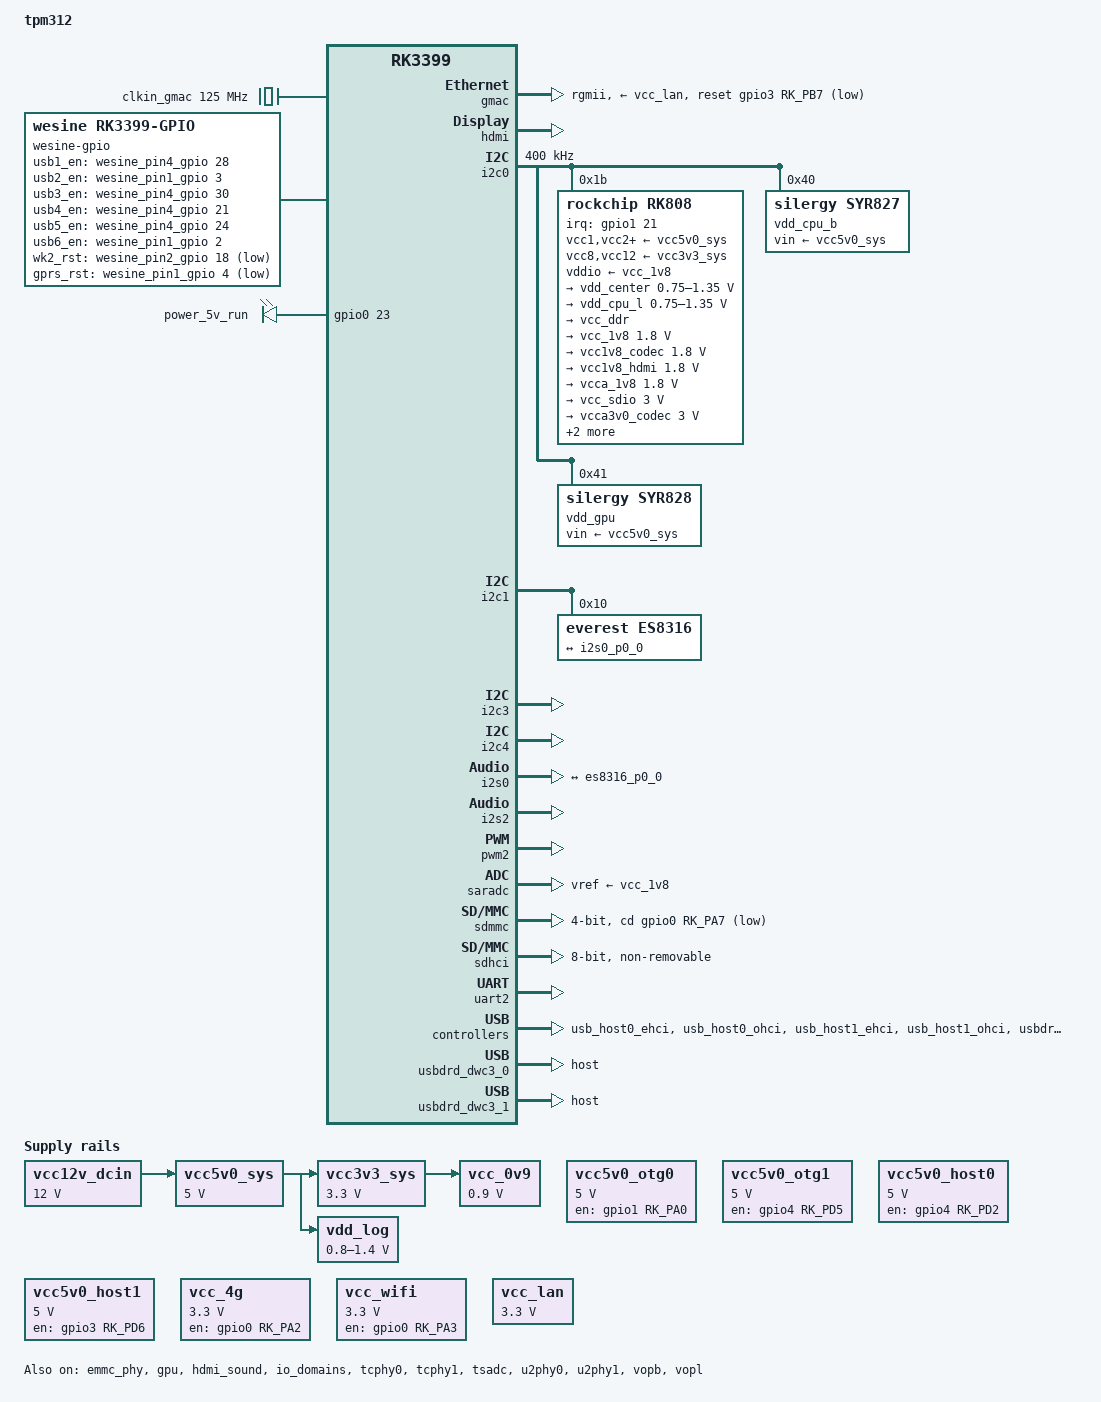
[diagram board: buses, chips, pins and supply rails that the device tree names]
// SPDX-License-Identifier: (GPL-2.0+ OR MIT)
/*
 * Copyright (c) 2023 chainsx <chainsx@outlook.com>
 */

/dts-v1/;
#include <dt-bindings/input/linux-event-codes.h>
#include <dt-bindings/pwm/pwm.h>
#include "rk3399.dtsi"
#include "rk3399-opp.dtsi"

/ {
	model = "tpm312";
	compatible = "rockchip,tpm312", "rockchip,rk3399";

	aliases {
		mmc0 = &sdmmc;
		mmc1 = &sdhci;
	};

	chosen {
		stdout-path = "serial2:1500000n8";
	};

	clkin_gmac: external-gmac-clock {
		compatible = "fixed-clock";
		clock-frequency = <125000000>;
		clock-output-names = "clkin_gmac";
		#clock-cells = <0>;
	};

	sound {
		compatible = "audio-graph-card";
		label = "Analog";
		dais = <&i2s0_p0>;
	};

	vcc12v_dcin: dc-12v {
		compatible = "regulator-fixed";
		regulator-name = "vcc12v_dcin";
		regulator-always-on;
		regulator-boot-on;
		regulator-min-microvolt = <12000000>;
		regulator-max-microvolt = <12000000>;
	};

	vcc5v0_sys: vcc-sys {
		compatible = "regulator-fixed";
		regulator-name = "vcc5v0_sys";
		regulator-always-on;
		regulator-boot-on;
		regulator-min-microvolt = <5000000>;
		regulator-max-microvolt = <5000000>;
		vin-supply = <&vcc12v_dcin>;
	};

	vcc_0v9: vcc-0v9 {
		compatible = "regulator-fixed";
		regulator-name = "vcc_0v9";
		regulator-always-on;
		regulator-boot-on;
		regulator-min-microvolt = <900000>;
		regulator-max-microvolt = <900000>;
		vin-supply = <&vcc3v3_sys>;
	};

	vcc3v3_sys: vcc3v3-sys {
		compatible = "regulator-fixed";
		regulator-name = "vcc3v3_sys";
		regulator-always-on;
		regulator-boot-on;
		regulator-min-microvolt = <3300000>;
		regulator-max-microvolt = <3300000>;
		vin-supply = <&vcc5v0_sys>;
	};

	vcc5v0_otg0: vcc5v0-otg0-regulator {
		compatible = "regulator-fixed";
		enable-active-high;
		gpio = <&gpio1 RK_PA0 GPIO_ACTIVE_HIGH>;
		pinctrl-names = "default";
		pinctrl-0 = <&otg0_vbus_drv>;
		regulator-name = "vcc5v0_otg0";
		regulator-always-on;
		regulator-min-microvolt = <5000000>;
		regulator-max-microvolt = <5000000>;
	};

	vcc5v0_otg1: vcc5v0-otg1-regulator {
		compatible = "regulator-fixed";
		enable-active-high;
		gpio = <&gpio4 RK_PD5 GPIO_ACTIVE_HIGH>;
		pinctrl-names = "default";
		pinctrl-0 = <&otg1_vbus_drv>;
		regulator-name = "vcc5v0_otg1";
		regulator-always-on;
		regulator-min-microvolt = <5000000>;
		regulator-max-microvolt = <5000000>;
	};

	vcc5v0_host0: vcc5v0-host0-regulator {
		compatible = "regulator-fixed";
		enable-active-high;
		gpio = <&gpio4 RK_PD2 GPIO_ACTIVE_HIGH>;
		pinctrl-names = "default";
		pinctrl-0 = <&host0_vbus_drv>;
		regulator-name = "vcc5v0_host0";
		regulator-always-on;
		regulator-min-microvolt = <5000000>;
		regulator-max-microvolt = <5000000>;
	};

	vcc5v0_host1: vcc5v0-host1-regulator {
		compatible = "regulator-fixed";
		enable-active-high;
		gpio = <&gpio3 RK_PD6 GPIO_ACTIVE_HIGH>;
		pinctrl-names = "default";
		pinctrl-0 = <&host1_vbus_drv>;
		regulator-name = "vcc5v0_host1";
		regulator-always-on;
		regulator-min-microvolt = <5000000>;
		regulator-max-microvolt = <5000000>;
	};

	vcc_4g: vcc-4g {
		compatible = "regulator-fixed";
		enable-active-high;
		gpio = <&gpio0 RK_PA2 GPIO_ACTIVE_HIGH>;
		pinctrl-names = "default";
		pinctrl-0 = <&vcc_4g_gpio>;
		regulator-name = "vcc_4g";
		regulator-always-on;
		regulator-boot-on;
		regulator-min-microvolt = <3300000>;
		regulator-max-microvolt = <3300000>;
	};

	vcc_wifi: vcc-wifi {
		compatible = "regulator-fixed";
		enable-active-high;
		gpio = <&gpio0 RK_PA3 GPIO_ACTIVE_HIGH>;
		pinctrl-names = "default";
		pinctrl-0 = <&wifi_pwr_gpio>;
		regulator-name = "vcc_wifi";
		regulator-always-on;
		regulator-min-microvolt = <3300000>;
		regulator-max-microvolt = <3300000>;
	};

	vcc_lan: vcc3v3-phy-regulator {
		compatible = "regulator-fixed";
		regulator-name = "vcc_lan";
		regulator-always-on;
		regulator-boot-on;
		regulator-min-microvolt = <3300000>;
		regulator-max-microvolt = <3300000>;
	};

	vdd_log: vdd-log {
		compatible = "pwm-regulator";
		pwms = <&pwm2 0 25000 1>;
		regulator-name = "vdd_log";
		regulator-always-on;
		regulator-boot-on;
		regulator-min-microvolt = <800000>;
		regulator-max-microvolt = <1400000>;
		vin-supply = <&vcc5v0_sys>;
	};

	wesine-gpio {
		compatible = "wesine,rk3399-gpio";
		pinctrl-names = "default";
		pinctrl-0 = <&wesine_pin1_gpio &wesine_pin2_gpio &wesine_pin4_gpio>;
		usb1_en = <&wesine_pin4_gpio 28 GPIO_ACTIVE_HIGH>;
		usb2_en = <&wesine_pin1_gpio 3 GPIO_ACTIVE_HIGH>;
		usb3_en = <&wesine_pin4_gpio 30 GPIO_ACTIVE_HIGH>;
		usb4_en = <&wesine_pin4_gpio 21 GPIO_ACTIVE_HIGH>;
		usb5_en = <&wesine_pin4_gpio 24 GPIO_ACTIVE_HIGH>;
		usb6_en = <&wesine_pin1_gpio 2 GPIO_ACTIVE_HIGH>;
		wk2_rst = <&wesine_pin2_gpio 18 GPIO_ACTIVE_LOW>;
		gprs_rst = <&wesine_pin1_gpio 4 GPIO_ACTIVE_LOW>;
		status = "okay";
	};

	leds {
		compatible = "gpio-leds";
		power5v-led {
			gpios = <&gpio0 23 GPIO_ACTIVE_HIGH>;
			default-state = "on";
			label = "power_5v_run";
		};
	};
};

&cpu_l0 {
	cpu-supply = <&vdd_cpu_l>;
};

&cpu_l1 {
	cpu-supply = <&vdd_cpu_l>;
};

&cpu_l2 {
	cpu-supply = <&vdd_cpu_l>;
};

&cpu_l3 {
	cpu-supply = <&vdd_cpu_l>;
};

&cpu_b0 {
	cpu-supply = <&vdd_cpu_b>;
};

&cpu_b1 {
	cpu-supply = <&vdd_cpu_b>;
};

&emmc_phy {
	status = "okay";
};

&gmac {
	assigned-clocks = <&cru SCLK_RMII_SRC>;
	assigned-clock-parents = <&clkin_gmac>;
	clock_in_out = "input";
	phy-supply = <&vcc_lan>;
	phy-mode = "rgmii";
	pinctrl-names = "default";
	pinctrl-0 = <&rgmii_pins>;
	snps,reset-gpio = <&gpio3 RK_PB7 GPIO_ACTIVE_LOW>;
	snps,reset-active-low;
	snps,reset-delays-us = <0 10000 50000>;
	tx_delay = <0x28>;
	rx_delay = <0x11>;
	status = "okay";
};

&gpu {
	mali-supply = <&vdd_gpu>;
	status = "okay";
};

&hdmi {
	ddc-i2c-bus = <&i2c3>;
	pinctrl-names = "default";
	pinctrl-0 = <&hdmi_cec>;
	status = "okay";
};

&hdmi_sound {
	status = "okay";
};

&i2c0 {
	clock-frequency = <400000>;
	i2c-scl-rising-time-ns = <168>;
	i2c-scl-falling-time-ns = <4>;
	status = "okay";

	rk808: pmic@1b {
		compatible = "rockchip,rk808";
		reg = <0x1b>;
		interrupt-parent = <&gpio1>;
		interrupts = <21 IRQ_TYPE_LEVEL_LOW>;
		#clock-cells = <1>;
		clock-output-names = "xin32k", "rk808-clkout2";
		pinctrl-names = "default";
		pinctrl-0 = <&pmic_int_l>;
		rockchip,system-power-controller;
		wakeup-source;

		vcc1-supply = <&vcc5v0_sys>;
		vcc2-supply = <&vcc5v0_sys>;
		vcc3-supply = <&vcc5v0_sys>;
		vcc4-supply = <&vcc5v0_sys>;
		vcc6-supply = <&vcc5v0_sys>;
		vcc7-supply = <&vcc5v0_sys>;
		vcc8-supply = <&vcc3v3_sys>;
		vcc9-supply = <&vcc5v0_sys>;
		vcc10-supply = <&vcc5v0_sys>;
		vcc11-supply = <&vcc5v0_sys>;
		vcc12-supply = <&vcc3v3_sys>;
		vddio-supply = <&vcc_1v8>;

		regulators {
			vdd_center: DCDC_REG1 {
				regulator-name = "vdd_center";
				regulator-always-on;
				regulator-boot-on;
				regulator-min-microvolt = <750000>;
				regulator-max-microvolt = <1350000>;
				regulator-ramp-delay = <6001>;
				regulator-state-mem {
					regulator-off-in-suspend;
				};
			};

			vdd_cpu_l: DCDC_REG2 {
				regulator-name = "vdd_cpu_l";
				regulator-always-on;
				regulator-boot-on;
				regulator-min-microvolt = <750000>;
				regulator-max-microvolt = <1350000>;
				regulator-ramp-delay = <6001>;
				regulator-state-mem {
					regulator-off-in-suspend;
				};
			};

			vcc_ddr: DCDC_REG3 {
				regulator-name = "vcc_ddr";
				regulator-always-on;
				regulator-boot-on;
				regulator-state-mem {
					regulator-on-in-suspend;
				};
			};

			vcc_1v8: DCDC_REG4 {
				regulator-name = "vcc_1v8";
				regulator-always-on;
				regulator-boot-on;
				regulator-min-microvolt = <1800000>;
				regulator-max-microvolt = <1800000>;
				regulator-state-mem {
					regulator-on-in-suspend;
					regulator-suspend-microvolt = <1800000>;
				};
			};

			vcc1v8_codec: LDO_REG1 {
				regulator-name = "vcc1v8_codec";
				regulator-always-on;
				regulator-boot-on;
				regulator-min-microvolt = <1800000>;
				regulator-max-microvolt = <1800000>;
				regulator-state-mem {
					regulator-off-in-suspend;
				};
			};

			vcc1v8_hdmi: LDO_REG2 {
				regulator-name = "vcc1v8_hdmi";
				regulator-always-on;
				regulator-boot-on;
				regulator-min-microvolt = <1800000>;
				regulator-max-microvolt = <1800000>;
				regulator-state-mem {
					regulator-off-in-suspend;
				};
			};

			vcca_1v8: LDO_REG3 {
				regulator-name = "vcca_1v8";
				regulator-always-on;
				regulator-boot-on;
				regulator-min-microvolt = <1800000>;
				regulator-max-microvolt = <1800000>;
				regulator-state-mem {
					regulator-on-in-suspend;
					regulator-suspend-microvolt = <1800000>;
				};
			};

			vcc_sdio: LDO_REG4 {
				regulator-name = "vcc_sdio";
				regulator-always-on;
				regulator-boot-on;
				regulator-min-microvolt = <3000000>;
				regulator-max-microvolt = <3000000>;
				regulator-state-mem {
					regulator-on-in-suspend;
					regulator-suspend-microvolt = <3000000>;
				};
			};

			vcca3v0_codec: LDO_REG5 {
				regulator-name = "vcca3v0_codec";
				regulator-always-on;
				regulator-boot-on;
				regulator-min-microvolt = <3000000>;
				regulator-max-microvolt = <3000000>;
				regulator-state-mem {
					regulator-off-in-suspend;
				};
			};

			vcc_1v5: LDO_REG6 {
				regulator-name = "vcc_1v5";
				regulator-always-on;
				regulator-boot-on;
				regulator-min-microvolt = <1500000>;
				regulator-max-microvolt = <1500000>;
				regulator-state-mem {
					regulator-on-in-suspend;
					regulator-suspend-microvolt = <1500000>;
				};
			};

			vcc0v9_hdmi: LDO_REG7 {
				regulator-name = "vcc0v9_hdmi";
				regulator-always-on;
				regulator-boot-on;
				regulator-min-microvolt = <900000>;
				regulator-max-microvolt = <900000>;
				regulator-state-mem {
					regulator-off-in-suspend;
				};
			};

			vcc_3v0: LDO_REG8 {
				regulator-name = "vcc_3v0";
				regulator-always-on;
				regulator-boot-on;
				regulator-min-microvolt = <3000000>;
				regulator-max-microvolt = <3000000>;
				regulator-state-mem {
					regulator-on-in-suspend;
					regulator-suspend-microvolt = <3000000>;
				};
			};

			vcc_cam: SWITCH_REG1 {
				regulator-name = "vcc_cam";
				regulator-always-on;
				regulator-boot-on;
				regulator-state-mem {
					regulator-off-in-suspend;
				};
			};

			vcc_mipi: SWITCH_REG2 {
				regulator-name = "vcc_mipi";
				regulator-always-on;
				regulator-boot-on;
				regulator-state-mem {
					regulator-off-in-suspend;
				};
			};
		};
	};

	vdd_cpu_b: regulator@40 {
		compatible = "silergy,syr827";
		reg = <0x40>;
		fcs,suspend-voltage-selector = <1>;
		pinctrl-names = "default";
		pinctrl-0 = <&vsel1_pin>;
		regulator-name = "vdd_cpu_b";
		regulator-min-microvolt = <712500>;
		regulator-max-microvolt = <1500000>;
		regulator-ramp-delay = <1000>;
		regulator-always-on;
		regulator-boot-on;
		vin-supply = <&vcc5v0_sys>;

		regulator-state-mem {
			regulator-off-in-suspend;
		};
	};

	vdd_gpu: regulator@41 {
		compatible = "silergy,syr828";
		reg = <0x41>;
		fcs,suspend-voltage-selector = <1>;
		pinctrl-names = "default";
		pinctrl-0 = <&vsel2_pin>;
		regulator-name = "vdd_gpu";
		regulator-min-microvolt = <712500>;
		regulator-max-microvolt = <1500000>;
		regulator-ramp-delay = <1000>;
		regulator-always-on;
		regulator-boot-on;
		vin-supply = <&vcc5v0_sys>;

		regulator-state-mem {
			regulator-off-in-suspend;
		};
	};
};

&i2c1 {
	i2c-scl-rising-time-ns = <300>;
	i2c-scl-falling-time-ns = <15>;
	status = "okay";

	es8316: codec@10 {
		compatible = "everest,es8316";
		reg = <0x10>;
		clocks = <&cru SCLK_I2S_8CH_OUT>;
		clock-names = "mclk";
		#sound-dai-cells = <0>;

		port {
			es8316_p0_0: endpoint {
				remote-endpoint = <&i2s0_p0_0>;
			};
		};
	};
};

&i2c3 {
	i2c-scl-rising-time-ns = <450>;
	i2c-scl-falling-time-ns = <15>;
	status = "okay";
};

&i2c4 {
	i2c-scl-rising-time-ns = <600>;
	i2c-scl-falling-time-ns = <20>;
	status = "okay";
};

&i2s0 {
	pinctrl-0 = <&i2s0_2ch_bus>;
	rockchip,capture-channels = <2>;
	rockchip,playback-channels = <2>;
	status = "okay";

	i2s0_p0: port {
		i2s0_p0_0: endpoint {
			dai-format = "i2s";
			mclk-fs = <256>;
			remote-endpoint = <&es8316_p0_0>;
		};
	};
};

&i2s1 {
	rockchip,playback-channels = <2>;
	rockchip,capture-channels = <2>;
};

&i2s2 {
	status = "okay";
};

&io_domains {
	status = "okay";

	bt656-supply = <&vcc_3v0>;
	audio-supply = <&vcc1v8_codec>;
	sdmmc-supply = <&vcc_sdio>;
	gpio1830-supply = <&vcc_3v0>;
};

&pmu_io_domains {
	status = "okay";

	pmu1830-supply = <&vcc_3v0>;
};

&pinctrl {
	wesine_gpio {
		wesine_pin1_gpio: wesine-pin1-gpio {
			rockchip,pins =
			    <1 3 RK_FUNC_GPIO &pcfg_pull_none>,
			    <1 2 RK_FUNC_GPIO &pcfg_pull_none>,
			    <1 4 RK_FUNC_GPIO &pcfg_pull_none>;
		};
		wesine_pin2_gpio:wesine-pin2-gpio {
			rockchip,pins = <2 18 RK_FUNC_GPIO &pcfg_pull_none>;
		};
		wesine_pin4_gpio: wesine-pin4-gpio {
			rockchip,pins =
			    <4 28 RK_FUNC_GPIO &pcfg_pull_none>,
			    <4 30 RK_FUNC_GPIO &pcfg_pull_none>,
			    <4 21 RK_FUNC_GPIO &pcfg_pull_none>,
			    <4 24 RK_FUNC_GPIO &pcfg_pull_none>;
		};
	};
	wireless_wlan {
		wifi_pwr_gpio: wifi-pwr-gpio {
			rockchip,pins = <0 3 RK_FUNC_GPIO &pcfg_pull_none>;
			};
	};

	pmic {
		pmic_int_l: pmic-int-l {
			rockchip,pins = <1 RK_PC5 RK_FUNC_GPIO &pcfg_pull_up>;
		};

		vsel1_pin: vsel1-pin {
			rockchip,pins = <1 RK_PC1 RK_FUNC_GPIO &pcfg_pull_down>;
		};

		vsel2_pin: vsel2-pin {
			rockchip,pins = <1 RK_PB6 RK_FUNC_GPIO &pcfg_pull_down>;
		};

		vcc5sys_gpio: vcc5sys-gpio {
			rockchip,pins =
			    <3 29 RK_FUNC_GPIO &pcfg_output_low>;
		};
		vcc_4g_gpio: vcc-4g-gpio {
			rockchip,pins =
			    <0 2 RK_FUNC_GPIO &pcfg_pull_none>;
		};
	};

	u2phy0_otg {
		otg0_vbus_drv: otg0-vbus-drv {
			rockchip,pins = <1 0 RK_FUNC_GPIO &pcfg_pull_none>;
		};
	};
	u2phy1_otg {
		otg1_vbus_drv: otg1-vbus-drv {
				rockchip,pins = <4 29 RK_FUNC_GPIO &pcfg_pull_none>;
		};
	};
	u2phy0_host {
		host0_vbus_drv: host0-vbus-drv {
			rockchip,pins = <4 26 RK_FUNC_GPIO &pcfg_pull_none>;
		};
	};
	u2phy1_host {
		host1_vbus_drv: host1-vbus-drv {
			rockchip,pins = <3 30 RK_FUNC_GPIO &pcfg_pull_none>;
		};
	};

};

&pwm2 {
	status = "okay";
};

&saradc {
	status = "okay";

	vref-supply = <&vcc_1v8>;
};

&sdmmc {
	bus-width = <4>;
	cap-mmc-highspeed;
	cap-sd-highspeed;
	cd-gpios = <&gpio0 RK_PA7 GPIO_ACTIVE_LOW>;
	disable-wp;
	max-frequency = <150000000>;
	pinctrl-names = "default";
	pinctrl-0 = <&sdmmc_clk &sdmmc_cd &sdmmc_cmd &sdmmc_bus4>;
	status = "okay";
};

&sdhci {
	max-frequency = <150000000>;
	bus-width = <8>;
	mmc-hs400-1_8v;
	mmc-hs400-enhanced-strobe;
	non-removable;
	status = "okay";
};

&tcphy0 {
	status = "okay";
};

&tcphy1 {
	status = "okay";
};

&tsadc {
	status = "okay";

	/* tshut mode 0:CRU 1:GPIO */
	rockchip,hw-tshut-mode = <1>;
	/* tshut polarity 0:LOW 1:HIGH */
	rockchip,hw-tshut-polarity = <1>;
};

&u2phy0 {
	status = "okay";

	u2phy0_otg: otg-port {
		phy-supply = <&vcc5v0_otg0>;
		status = "okay";
	};

	u2phy0_host: host-port {
		phy-supply = <&vcc5v0_host0>;
		status = "okay";
	};
};

&u2phy1 {
	status = "okay";

	u2phy1_otg: otg-port {
		phy-supply = <&vcc5v0_otg0>;
		status = "okay";
	};

	u2phy1_host: host-port {
		phy-supply = <&vcc5v0_host1>;
		status = "okay";
	};
};

&uart0 {
	pinctrl-names = "default";
	pinctrl-0 = <&uart0_xfer &uart0_cts &uart0_rts>;
};

&uart2 {
	status = "okay";
};

&usb_host0_ehci {
	status = "okay";
};

&usb_host0_ohci {
	status = "okay";
};

&usb_host1_ehci {
	status = "okay";
};

&usb_host1_ohci {
	status = "okay";
};

&usbdrd3_0 {
	status = "okay";
};

&usbdrd_dwc3_0 {
	status = "okay";
	dr_mode = "host";
};

&usbdrd3_1 {
	status = "okay";
};

&usbdrd_dwc3_1 {
	status = "okay";
	dr_mode = "host";
};

&vopb {
	status = "okay";
};

&vopb_mmu {
	status = "okay";
};

&vopl {
	status = "okay";
};

&vopl_mmu {
	status = "okay";
};
